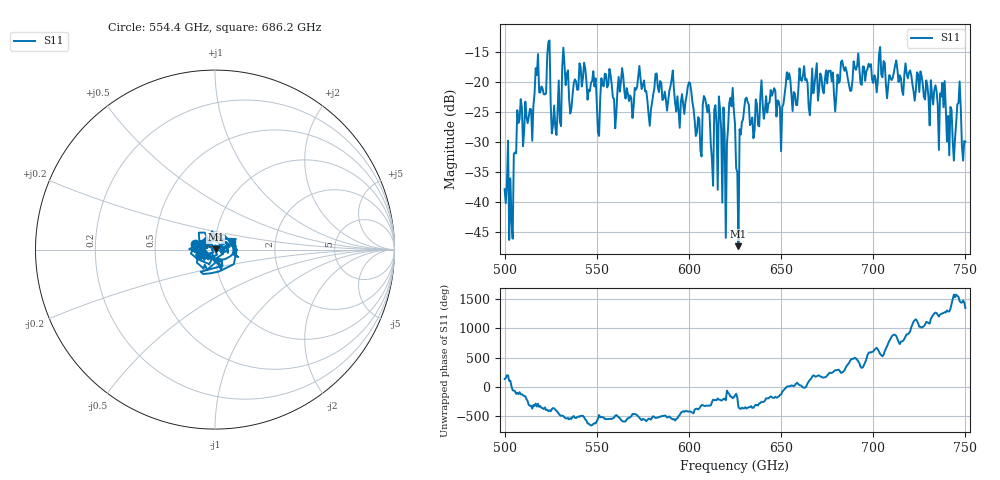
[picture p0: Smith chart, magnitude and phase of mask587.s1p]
!Created with skrf (http://scikit-rf.org).
# GHz S MA R 50.0
!freq magS11 angS11
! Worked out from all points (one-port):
!   401 points, 500 GHz to 750 GHz, reference 50 ohm
!   lowest |S11| = -47.4 dB at 626.9 GHz (marker M1), VSWR 1.01, Z = 50.4 + j0.0657 ohm
!   |S11| at or under -10 dB: start of sweep to end of sweep
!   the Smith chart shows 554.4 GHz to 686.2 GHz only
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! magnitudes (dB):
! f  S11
! 500 GHz  -37.9
! 503.8 GHz  -43.2
! 508.1 GHz  -26.2
! 513.8 GHz  -24.5
! 517.5 GHz  -18.8
! 523.8 GHz  -13.3
! 526.9 GHz  -23.9
! 531.2 GHz  -17.5
! 541.9 GHz  -20.7
! 551.2 GHz  -29.0
! 562.5 GHz  -21.6
! 593.8 GHz  -22.4
! 600.6 GHz  -20.2
! 605.6 GHz  -26.1
! 609.4 GHz  -23.7
! 619.4 GHz  -28.7
! 622.5 GHz  -22.6
! 625 GHz  -27.0
! 626.9 GHz  -47.4
! 631.2 GHz  -22.6
! 634.4 GHz  -25.9
! 656.2 GHz  -24.8
! 687.5 GHz  -21.5
! 718.8 GHz  -19.4
! 737.5 GHz  -20.1
! 742.5 GHz  -24.7
! 746.2 GHz  -23.5
! 750 GHz  -29.9
